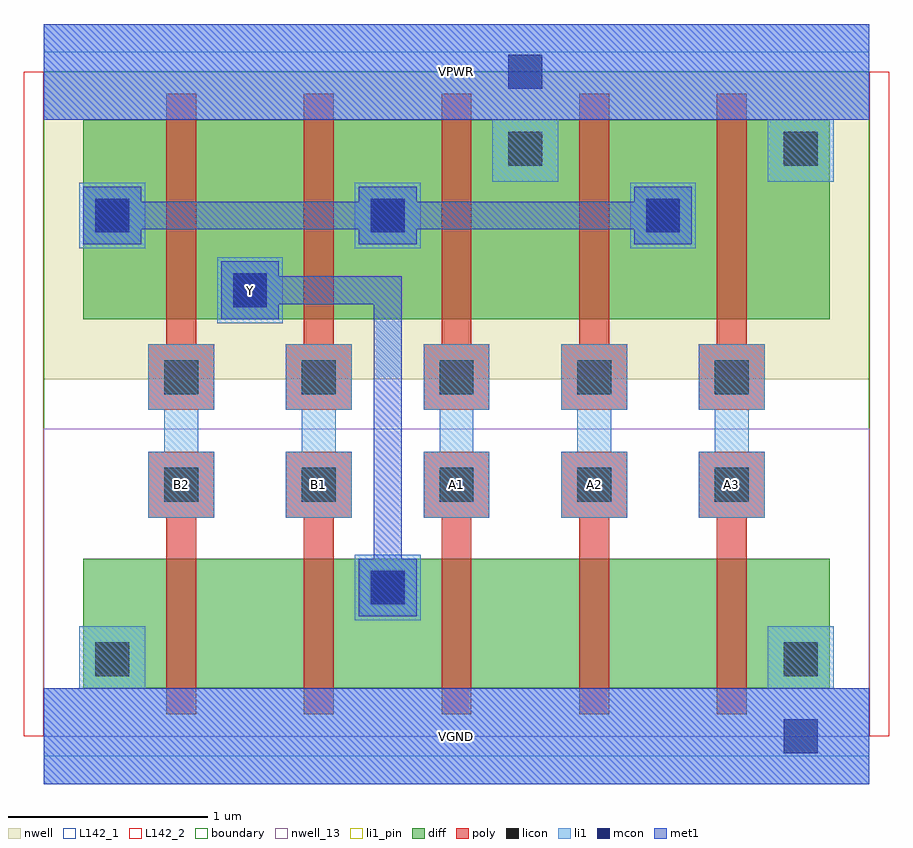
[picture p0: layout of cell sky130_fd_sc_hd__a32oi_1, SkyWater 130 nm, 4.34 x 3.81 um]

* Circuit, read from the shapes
.subckt sky130_fd_sc_hd__a32oi_1 A1 A2 A3 B1 B2 VGND VPWR Y
XM1 n1 B2 VGND VSUBS sky130_fd_pr__nfet_01v8 w=0.65 l=0.15
XM2 Y B1 n1 VSUBS sky130_fd_pr__nfet_01v8 w=0.65 l=0.15
XM3 n2 A1 Y VSUBS sky130_fd_pr__nfet_01v8 w=0.65 l=0.15
XM4 n3 A2 n2 VSUBS sky130_fd_pr__nfet_01v8 w=0.65 l=0.15
XM5 VGND A3 n3 VSUBS sky130_fd_pr__nfet_01v8 w=0.65 l=0.15
XM6 Y B2 n4 n5 sky130_fd_pr__pfet_01v8 w=1 l=0.15
XM7 n4 B1 Y n5 sky130_fd_pr__pfet_01v8 w=1 l=0.15
XM8 VPWR A1 n4 n5 sky130_fd_pr__pfet_01v8 w=1 l=0.15
XM9 n4 A2 VPWR n5 sky130_fd_pr__pfet_01v8 w=1 l=0.15
XM10 VPWR A3 n4 n5 sky130_fd_pr__pfet_01v8 w=1 l=0.15
.ends

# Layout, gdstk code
import gdstk
lib = gdstk.Library(unit=1e-6, precision=1e-09)
def R(c, l, rs):  # rectangles x0, y0, x1, y1
    for r in rs: c.add(gdstk.rectangle(r[:2], r[2:], *l))
def A(c, l, x, y, w, h, nx, ny, dx, dy):  # array of equal rectangles
    R(c, l, [(x+i*dx, y+j*dy, x+i*dx+w, y+j*dy+h) for i in range(nx) for j in range(ny)])
def P(c, l, *ps):  # polygons
    for p in ps: c.add(gdstk.Polygon(p, *l))
nwell_13 = (64, 13)
nwell = (64, 20)
diff = (65, 20)
poly = (66, 20)
licon = (66, 44)
li1_pin = (67, 16)
li1 = (67, 20)
mcon = (67, 44)
met1 = (68, 20)
L142_1 = (142, 1)
L142_2 = (142, 2)
boundary = (235, 4)

sky130_fd_sc_hd__a32oi_1 = lib.new_cell('sky130_fd_sc_hd__a32oi_1')
R(sky130_fd_sc_hd__a32oi_1, nwell_13, [(0,0,4.14,1.54)])
R(sky130_fd_sc_hd__a32oi_1, nwell, [(0,1.79,4.14,3.33)])
A(sky130_fd_sc_hd__a32oi_1, diff, 0.615, 0.24, 0.69, 0.65, 4, 1, 0.69, 0)
A(sky130_fd_sc_hd__a32oi_1, diff, 0.615, 2.09, 0.69, 1, 4, 1, 0.69, 0)
R(sky130_fd_sc_hd__a32oi_1, diff, [(0.2,0.24,3.94,0.89), (0.2,0.24,0.615,0.89), (3.375,0.24,3.94,0.89), (0.2,2.09,3.94,3.09), (0.2,2.09,0.615,3.09), (3.375,2.09,3.94,3.09)])
P(sky130_fd_sc_hd__a32oi_1, poly, [(0.615,0.11),(0.615,1.095),(0.525,1.095),(0.525,1.425),(0.855,1.425),(0.855,1.095),(0.765,1.095),(0.765,0.11)],
  [(0.525,1.635),(0.525,1.965),(0.615,1.965),(0.615,3.22),(0.765,3.22),(0.765,1.965),(0.855,1.965),(0.855,1.635)],
  [(2.685,0.11),(2.685,1.095),(2.595,1.095),(2.595,1.425),(2.925,1.425),(2.925,1.095),(2.835,1.095),(2.835,0.11)],
  [(2.595,1.635),(2.595,1.965),(2.685,1.965),(2.685,3.22),(2.835,3.22),(2.835,1.965),(2.925,1.965),(2.925,1.635)],
  [(1.995,0.11),(1.995,1.095),(1.905,1.095),(1.905,1.425),(2.235,1.425),(2.235,1.095),(2.145,1.095),(2.145,0.11)],
  [(1.905,1.635),(1.905,1.965),(1.995,1.965),(1.995,3.22),(2.145,3.22),(2.145,1.965),(2.235,1.965),(2.235,1.635)],
  [(3.375,0.11),(3.375,1.095),(3.285,1.095),(3.285,1.425),(3.615,1.425),(3.615,1.095),(3.525,1.095),(3.525,0.11)],
  [(3.285,1.635),(3.285,1.965),(3.375,1.965),(3.375,3.22),(3.525,3.22),(3.525,1.965),(3.615,1.965),(3.615,1.635)],
  [(1.305,0.11),(1.305,1.095),(1.215,1.095),(1.215,1.425),(1.545,1.425),(1.545,1.095),(1.455,1.095),(1.455,0.11)],
  [(1.215,1.635),(1.215,1.965),(1.305,1.965),(1.305,3.22),(1.455,3.22),(1.455,1.965),(1.545,1.965),(1.545,1.635)])
A(sky130_fd_sc_hd__a32oi_1, licon, 0.605, 1.175, 0.17, 0.17, 5, 2, 0.69, 0.54)
A(sky130_fd_sc_hd__a32oi_1, licon, 0.26, 2.525, 0.17, 0.17, 3, 1, 1.38, 0)
R(sky130_fd_sc_hd__a32oi_1, licon, [(0.26,0.3,0.43,0.47), (3.71,0.3,3.88,0.47), (1.64,0.66,1.81,0.83), (0.95,2.15,1.12,2.32), (2.33,2.86,2.5,3.03), (3.71,2.86,3.88,3.03)])
R(sky130_fd_sc_hd__a32oi_1, li1_pin, [(0,-0.24,4.14,0.24), (0.87,2.07,1.2,2.4), (0,3.09,4.14,3.57)])
P(sky130_fd_sc_hd__a32oi_1, li1_pin, [(2.595,1.095),(2.595,1.425),(2.675,1.425),(2.675,1.635),(2.595,1.635),(2.595,1.965),(2.925,1.965),(2.925,1.635),(2.845,1.635),(2.845,1.425),(2.925,1.425),(2.925,1.095)],
  [(0.525,1.095),(0.525,1.425),(0.605,1.425),(0.605,1.635),(0.525,1.635),(0.525,1.965),(0.855,1.965),(0.855,1.635),(0.775,1.635),(0.775,1.425),(0.855,1.425),(0.855,1.095)],
  [(1.215,1.095),(1.215,1.425),(1.295,1.425),(1.295,1.635),(1.215,1.635),(1.215,1.965),(1.545,1.965),(1.545,1.635),(1.465,1.635),(1.465,1.425),(1.545,1.425),(1.545,1.095)],
  [(3.285,1.095),(3.285,1.425),(3.365,1.425),(3.365,1.635),(3.285,1.635),(3.285,1.965),(3.615,1.965),(3.615,1.635),(3.535,1.635),(3.535,1.425),(3.615,1.425),(3.615,1.095)],
  [(1.905,1.095),(1.905,1.425),(1.985,1.425),(1.985,1.635),(1.905,1.635),(1.905,1.965),(2.235,1.965),(2.235,1.635),(2.155,1.635),(2.155,1.425),(2.235,1.425),(2.235,1.095)])
A(sky130_fd_sc_hd__a32oi_1, li1, 0.18, 2.445, 0.33, 0.33, 3, 1, 1.38, 0)
R(sky130_fd_sc_hd__a32oi_1, li1, [(1.56,0.58,1.89,0.91), (0.87,2.07,1.2,2.4)])
P(sky130_fd_sc_hd__a32oi_1, li1, [(0.525,1.095),(0.525,1.425),(0.605,1.425),(0.605,1.635),(0.525,1.635),(0.525,1.965),(0.855,1.965),(0.855,1.635),(0.775,1.635),(0.775,1.425),(0.855,1.425),(0.855,1.095)],
  [(2.595,1.095),(2.595,1.425),(2.675,1.425),(2.675,1.635),(2.595,1.635),(2.595,1.965),(2.925,1.965),(2.925,1.635),(2.845,1.635),(2.845,1.425),(2.925,1.425),(2.925,1.095)],
  [(2.25,2.78),(2.25,3.09),(0,3.09),(0,3.57),(4.14,3.57),(4.14,3.09),(3.96,3.09),(3.96,2.78),(3.63,2.78),(3.63,3.09),(2.58,3.09),(2.58,2.78)],
  [(1.905,1.095),(1.905,1.425),(1.985,1.425),(1.985,1.635),(1.905,1.635),(1.905,1.965),(2.235,1.965),(2.235,1.635),(2.155,1.635),(2.155,1.425),(2.235,1.425),(2.235,1.095)],
  [(0,-0.24),(0,0.24),(0.18,0.24),(0.18,0.55),(0.51,0.55),(0.51,0.24),(3.63,0.24),(3.63,0.55),(3.96,0.55),(3.96,0.24),(4.14,0.24),(4.14,-0.24)],
  [(3.285,1.095),(3.285,1.425),(3.365,1.425),(3.365,1.635),(3.285,1.635),(3.285,1.965),(3.615,1.965),(3.615,1.635),(3.535,1.635),(3.535,1.425),(3.615,1.425),(3.615,1.095)],
  [(1.215,1.095),(1.215,1.425),(1.295,1.425),(1.295,1.635),(1.215,1.635),(1.215,1.965),(1.545,1.965),(1.545,1.635),(1.465,1.635),(1.465,1.425),(1.545,1.425),(1.545,1.095)])
A(sky130_fd_sc_hd__a32oi_1, mcon, 0.26, 2.525, 0.17, 0.17, 3, 1, 1.38, 0)
R(sky130_fd_sc_hd__a32oi_1, mcon, [(3.71,-0.085,3.88,0.085), (1.64,0.66,1.81,0.83), (0.95,2.15,1.12,2.32), (2.33,3.245,2.5,3.415)])
R(sky130_fd_sc_hd__a32oi_1, met1, [(0,-0.24,4.14,0.24), (0,3.09,4.14,3.57)])
P(sky130_fd_sc_hd__a32oi_1, met1, [(1.58,0.6),(1.58,0.89),(1.655,0.89),(1.655,2.165),(1.18,2.165),(1.18,2.09),(0.89,2.09),(0.89,2.38),(1.18,2.38),(1.18,2.305),(1.795,2.305),(1.795,0.89),(1.87,0.89),(1.87,0.6)],
  [(0.2,2.465),(0.2,2.755),(0.49,2.755),(0.49,2.68),(1.58,2.68),(1.58,2.755),(1.87,2.755),(1.87,2.68),(2.96,2.68),(2.96,2.755),(3.25,2.755),(3.25,2.465),(2.96,2.465),(2.96,2.54),(1.87,2.54),(1.87,2.465),(1.58,2.465),(1.58,2.54),(0.49,2.54),(0.49,2.465)])
R(sky130_fd_sc_hd__a32oi_1, L142_1, [(0,-0.1,4.14,0), (0,3.33,4.14,3.43)])
R(sky130_fd_sc_hd__a32oi_1, L142_2, [(-0.1,0,0,3.33), (4.14,0,4.24,3.33)])
R(sky130_fd_sc_hd__a32oi_1, boundary, [(0,0,4.14,3.33)])
sky130_fd_sc_hd__a32oi_1.add(gdstk.Label('Y', (1.035,2.235), layer=67, texttype=5))
sky130_fd_sc_hd__a32oi_1.add(gdstk.Label('A2', (2.76,1.26), layer=67, texttype=5))
sky130_fd_sc_hd__a32oi_1.add(gdstk.Label('B2', (0.69,1.26), layer=67, texttype=5))
sky130_fd_sc_hd__a32oi_1.add(gdstk.Label('B1', (1.38,1.26), layer=67, texttype=5))
sky130_fd_sc_hd__a32oi_1.add(gdstk.Label('A3', (3.45,1.26), layer=67, texttype=5))
sky130_fd_sc_hd__a32oi_1.add(gdstk.Label('A1', (2.07,1.26), layer=67, texttype=5))
sky130_fd_sc_hd__a32oi_1.add(gdstk.Label('VGND', (2.07,0), layer=67, texttype=5))
sky130_fd_sc_hd__a32oi_1.add(gdstk.Label('VPWR', (2.07,3.33), layer=67, texttype=5))
sky130_fd_sc_hd__a32oi_1.add(gdstk.Label('VGND', (2.07,0), layer=68, texttype=5))
sky130_fd_sc_hd__a32oi_1.add(gdstk.Label('VPWR', (2.07,3.33), layer=68, texttype=5))

lib.write_gds('sky130_fd_sc_hd__a32oi_1.gds')
